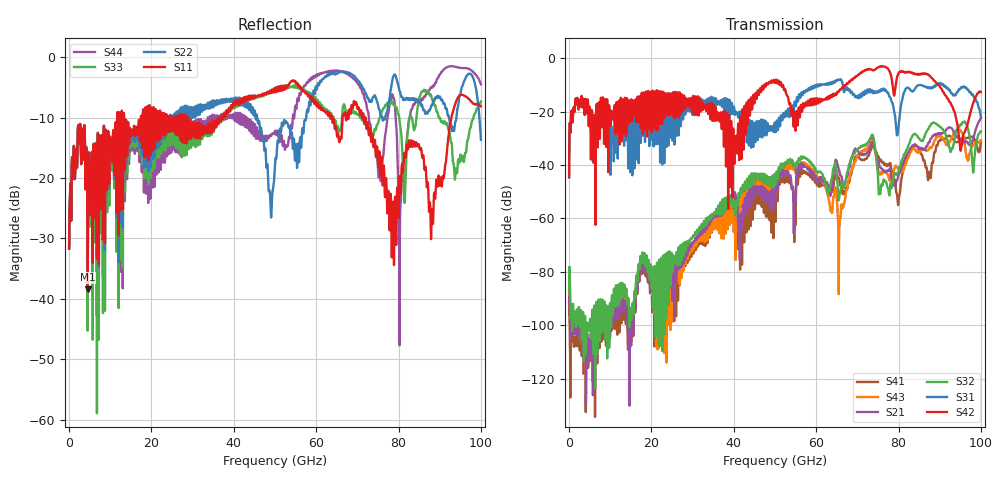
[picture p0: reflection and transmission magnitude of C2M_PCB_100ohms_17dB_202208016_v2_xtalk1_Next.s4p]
! Info: Touchstone file created by Circ.  Input file=Intel_C2M_200G_5p5in_202208016_staggered.circ
# Hz S RI R 50
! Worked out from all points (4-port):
!   10000 points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, 10 MHz to 100 GHz, reference 50 ohm
!   strongest paths, dB at 10 MHz, 25.01 GHz, 50.01 GHz, 75.01 GHz, 100 GHz:
!     S42: -44.5, -17.8, -9.3, -3.5, -12.7
!     S31: -44.6, -21.0, -24.7, -12.8, -21.9
!     S32: -87.6, -77.2, -45.7, -44.2, -27.4
!     S21: -91.6, -81.5, -52.6, -38.3, -22.4
!     S43: -91.3, -81.8, -47.1, -41.3, -30.7
!     S41: -93.0, -79.1, -55.3, -36.9, -31.4
!   lowest |S11| = -38.5 dB at 4.53 GHz (marker M1), VSWR 1.02, Z = 49.8 - j1.18 ohm
!   |S11| at or under -10 dB: start of sweep to 11.7 GHz; 28.82 GHz to 36.58 GHz (7.763 GHz wide, 23.7 % of centre); 72.02 GHz to 92.82 GHz (20.79 GHz wide, 25.2 % of centre)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
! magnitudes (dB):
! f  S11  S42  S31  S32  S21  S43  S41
! 10 MHz  -31.7  -44.5  -44.6  -87.6  -91.6  -91.3  -93.0
! 4.53 GHz  -38.5  -15.5  -16.6  -100.8  -108.2  -108.9  -112.6
! 40.06 GHz  -7.5  -34.4  -18.3  -55.9  -50.9  -61.6  -54.5
! 73.48 GHz  -13.6  -4.2  -12.0  -28.9  -31.6  -30.6  -33.1
! 76.14 GHz  -21.1  -3.1  -12.0  -47.4  -41.7  -43.0  -39.0
! 95.18 GHz  -6.2  -33.8  -10.9  -24.9  -30.5  -27.3  -30.2
! 100 GHz  -8.1  -12.7  -21.9  -27.4  -22.4  -30.7  -31.4
